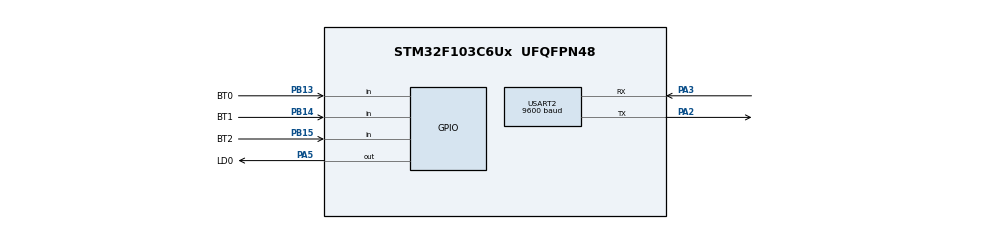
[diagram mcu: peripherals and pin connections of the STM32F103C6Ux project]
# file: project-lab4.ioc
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Mcu.Family=STM32F1
Mcu.Name=STM32F103C6Ux
Mcu.Package=UFQFPN48
NVIC.PriorityGroup=NVIC_PRIORITYGROUP_4
NVIC.TIM2_IRQn=true\:0\:0\:false\:false\:true\:true\:true
NVIC.USART2_IRQn=true\:0\:0\:false\:false\:true\:true\:true
PA13.Mode=Serial_Wire
PA13.Signal=SYS_JTMS-SWDIO
PA14.Mode=Serial_Wire
PA14.Signal=SYS_JTCK-SWCLK
PA2.Mode=Asynchronous
PA2.Signal=USART2_TX
PA3.Mode=Asynchronous
PA3.Signal=USART2_RX
PA5.GPIO_Label=LD0
PA5.Signal=GPIO_Output
PB13.GPIO_Label=BT0
PB13.GPIO_PuPd=GPIO_PULLUP
PB13.Signal=GPIO_Input
PB14.GPIO_Label=BT1
PB14.GPIO_PuPd=GPIO_PULLUP
PB14.Signal=GPIO_Input
PB15.GPIO_Label=BT2
PB15.GPIO_PuPd=GPIO_PULLUP
PB15.Signal=GPIO_Input
ProjectManager.HeapSize=0x200
ProjectManager.StackSize=0x400
ProjectManager.TargetToolchain=STM32CubeIDE
RCC.AHBFreq_Value=8000000
RCC.APB1Freq_Value=8000000
RCC.APB1TimFreq_Value=8000000
RCC.APB2Freq_Value=8000000
RCC.APB2TimFreq_Value=8000000
RCC.HCLKFreq_Value=8000000
TIM2.Period=9
TIM2.Prescaler=7999
USART2.BaudRate=9600
USART2.VirtualMode=VM_ASYNC
VP_TIM2_VS_ClockSourceINT.Mode=Internal
board=custom

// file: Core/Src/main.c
/* USER CODE BEGIN Header */
/**
  ******************************************************************************
  * @file           : main.c
  * @brief          : Main program body
  ******************************************************************************
  * @attention
  *
  * <h2><center>&copy; Copyright (c) 2024 STMicroelectronics.
  * All rights reserved.</center></h2>
  *
  * This software component is licensed by ST under BSD 3-Clause license,
  * the "License"; You may not use this file except in compliance with the
  * License. You may obtain a copy of the License at:
  *                        opensource.org/licenses/BSD-3-Clause
  *
  ******************************************************************************
  */
/* USER CODE END Header */
#include "main.h"

/* USER CODE BEGIN Includes */
#include "SCH.h"
#include "stdio.h"
#include "string.h"
/* USER CODE END Includes */

TIM_HandleTypeDef htim2;

UART_HandleTypeDef huart2;

void SystemClock_Config(void);
static void MX_TIM2_Init(void);
static void MX_GPIO_Init(void);
static void MX_USART2_UART_Init(void);

/* USER CODE BEGIN 0 */
uint8_t temp = 0;
void HAL_UART_RxCpltCallback ( UART_HandleTypeDef * huart ){
	if(huart -> Instance == USART2 ){
		HAL_UART_Transmit (& huart2 , &temp , 1, 50);
		HAL_UART_Receive_IT (& huart2 , &temp , 1);
	}
}
uint32_t current_time;
char str[20];
void get_time(){
	sprintf(str,"%ld\r\n",current_time);
    HAL_UART_Transmit(&huart2, (uint8_t*)str, strlen(str), HAL_MAX_DELAY);
}
void blink(){
	get_time();
}
void blink1(){
	get_time();
	HAL_GPIO_TogglePin(LD0_GPIO_Port, LD0_Pin);
}
void blink2(){
	get_time();
	HAL_GPIO_TogglePin(LD0_GPIO_Port, LD0_Pin);
}
/* USER CODE END 0 */

int main(void)
{

  /* MCU Configuration--------------------------------------------------------*/

  /* Reset of all peripherals, Initializes the Flash interface and the Systick. */
  HAL_Init();

  /* Configure the system clock */
  SystemClock_Config();

  /* Initialize all configured peripherals */
  MX_TIM2_Init();
  MX_GPIO_Init();
  MX_USART2_UART_Init();
  /* USER CODE BEGIN 2 */
  HAL_TIM_Base_Start_IT(&htim2);
  HAL_UART_Receive_IT(&huart2, &temp,1);
//  uint8_t hello[] = "Hello !\t";
//  HAL_UART_Transmit(&huart2, hello, sizeof(hello) - 1, 50);
  /* USER CODE END 2 */

  /* Infinite loop */
  /* USER CODE BEGIN WHILE */
  SCH_Init();
  SCH_Add_Task(blink, 100, 100);
  SCH_Add_Task(blink, 100, 200);
  SCH_Add_Task(blink, 100, 0);
  SCH_Add_Task(blink, 100, 0);
  SCH_Add_Task(blink, 100, 0);

  while (1)
  {
	 	  SCH_Dispatch_Tasks();
    /* USER CODE END WHILE */

  }
}

void SystemClock_Config(void)
{
  RCC_OscInitTypeDef RCC_OscInitStruct = {0};
  RCC_ClkInitTypeDef RCC_ClkInitStruct = {0};

  /** Initializes the RCC Oscillators according to the specified parameters
  * in the RCC_OscInitTypeDef structure.
  */
  RCC_OscInitStruct.OscillatorType = RCC_OSCILLATORTYPE_HSI;
  RCC_OscInitStruct.HSIState = RCC_HSI_ON;
  RCC_OscInitStruct.HSICalibrationValue = RCC_HSICALIBRATION_DEFAULT;
  RCC_OscInitStruct.PLL.PLLState = RCC_PLL_NONE;
  if (HAL_RCC_OscConfig(&RCC_OscInitStruct) != HAL_OK)
  {
    Error_Handler();
  }
  /** Initializes the CPU, AHB and APB buses clocks
  */
  RCC_ClkInitStruct.ClockType = RCC_CLOCKTYPE_HCLK|RCC_CLOCKTYPE_SYSCLK
                              |RCC_CLOCKTYPE_PCLK1|RCC_CLOCKTYPE_PCLK2;
  RCC_ClkInitStruct.SYSCLKSource = RCC_SYSCLKSOURCE_HSI;
  RCC_ClkInitStruct.AHBCLKDivider = RCC_SYSCLK_DIV1;
  RCC_ClkInitStruct.APB1CLKDivider = RCC_HCLK_DIV1;
  RCC_ClkInitStruct.APB2CLKDivider = RCC_HCLK_DIV1;

  if (HAL_RCC_ClockConfig(&RCC_ClkInitStruct, FLASH_LATENCY_0) != HAL_OK)
  {
    Error_Handler();
  }
}

static void MX_TIM2_Init(void)
{

  TIM_ClockConfigTypeDef sClockSourceConfig = {0};
  TIM_MasterConfigTypeDef sMasterConfig = {0};

  htim2.Instance = TIM2;
  htim2.Init.Prescaler = 7999;
  htim2.Init.CounterMode = TIM_COUNTERMODE_UP;
  htim2.Init.Period = 9;
  htim2.Init.ClockDivision = TIM_CLOCKDIVISION_DIV1;
  htim2.Init.AutoReloadPreload = TIM_AUTORELOAD_PRELOAD_DISABLE;
  if (HAL_TIM_Base_Init(&htim2) != HAL_OK)
  {
    Error_Handler();
  }
  sClockSourceConfig.ClockSource = TIM_CLOCKSOURCE_INTERNAL;
  if (HAL_TIM_ConfigClockSource(&htim2, &sClockSourceConfig) != HAL_OK)
  {
    Error_Handler();
  }
  sMasterConfig.MasterOutputTrigger = TIM_TRGO_RESET;
  sMasterConfig.MasterSlaveMode = TIM_MASTERSLAVEMODE_DISABLE;
  if (HAL_TIMEx_MasterConfigSynchronization(&htim2, &sMasterConfig) != HAL_OK)
  {
    Error_Handler();
  }

}

static void MX_USART2_UART_Init(void)
{

  huart2.Instance = USART2;
  huart2.Init.BaudRate = 9600;
  huart2.Init.WordLength = UART_WORDLENGTH_8B;
  huart2.Init.StopBits = UART_STOPBITS_1;
  huart2.Init.Parity = UART_PARITY_NONE;
  huart2.Init.Mode = UART_MODE_TX_RX;
  huart2.Init.HwFlowCtl = UART_HWCONTROL_NONE;
  huart2.Init.OverSampling = UART_OVERSAMPLING_16;
  if (HAL_UART_Init(&huart2) != HAL_OK)
  {
    Error_Handler();
  }

}

static void MX_GPIO_Init(void)
{
  GPIO_InitTypeDef GPIO_InitStruct = {0};

  /* GPIO Ports Clock Enable */
  __HAL_RCC_GPIOA_CLK_ENABLE();

  /*Configure GPIO pin Output Level */
  HAL_GPIO_WritePin(LD0_GPIO_Port, LD0_Pin, GPIO_PIN_RESET);

  /*Configure GPIO pin : LD0_Pin */
  GPIO_InitStruct.Pin = LD0_Pin;
  GPIO_InitStruct.Mode = GPIO_MODE_OUTPUT_PP;
  GPIO_InitStruct.Pull = GPIO_NOPULL;
  GPIO_InitStruct.Speed = GPIO_SPEED_FREQ_LOW;
  HAL_GPIO_Init(LD0_GPIO_Port, &GPIO_InitStruct);

}

/* USER CODE BEGIN 4 */
void HAL_TIM_PeriodElapsedCallback ( TIM_HandleTypeDef * htim ){
	current_time+=10;
	SCH_Update();
}
/* USER CODE END 4 */

void Error_Handler(void)
{
  __disable_irq();
  while (1)
  {
  }
}

/************************ (C) COPYRIGHT STMicroelectronics *****END OF FILE****/
